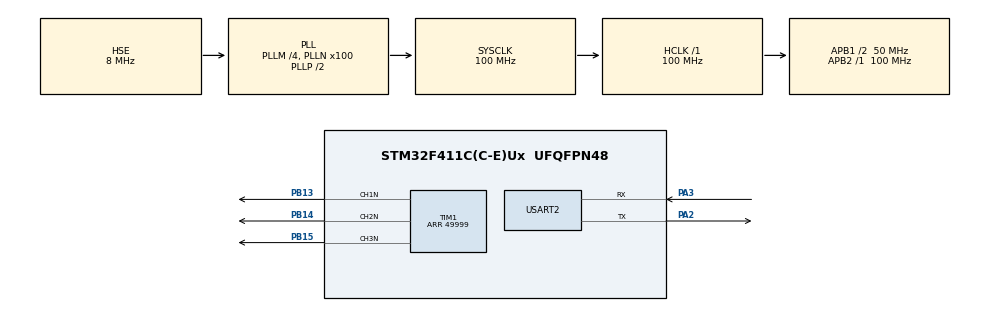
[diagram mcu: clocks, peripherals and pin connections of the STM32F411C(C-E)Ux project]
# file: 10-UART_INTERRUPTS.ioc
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Mcu.Family=STM32F4
Mcu.Name=STM32F411C(C-E)Ux
Mcu.Package=UFQFPN48
NVIC.PriorityGroup=NVIC_PRIORITYGROUP_4
NVIC.USART2_IRQn=true\:0\:0\:false\:false\:true
PA13.Mode=Serial-Wire
PA13.Signal=SYS_JTMS-SWDIO
PA14.Mode=Serial-Wire
PA14.Signal=SYS_JTCK-SWCLK
PA2.Mode=Asynchronous
PA2.Signal=USART2_TX
PA3.Mode=Asynchronous
PA3.Signal=USART2_RX
PB13.Mode=PWM Generation1 CH1N
PB13.Signal=TIM1_CH1N
PB14.Mode=PWM Generation2 CH2N
PB14.Signal=TIM1_CH2N
PB15.Mode=PWM Generation3 CH3N
PB15.Signal=TIM1_CH3N
PC14-OSC32_IN.Mode=LSE-External-Oscillator
PC14-OSC32_IN.Signal=RCC_OSC32_IN
PC15-OSC32_OUT.Mode=LSE-External-Oscillator
PC15-OSC32_OUT.Signal=RCC_OSC32_OUT
PH0\ -\ OSC_IN.Mode=HSE-External-Oscillator
PH0\ -\ OSC_IN.Signal=RCC_OSC_IN
PH1\ -\ OSC_OUT.Mode=HSE-External-Oscillator
PH1\ -\ OSC_OUT.Signal=RCC_OSC_OUT
ProjectManager.HeapSize=0x200
ProjectManager.StackSize=0x400
ProjectManager.TargetToolchain=SW4STM32
RCC.48MHZClocksFreq_Value=50000000
RCC.AHBFreq_Value=100000000
RCC.APB1CLKDivider=RCC_HCLK_DIV2
RCC.APB1Freq_Value=50000000
RCC.APB1TimCLKDivider=1
RCC.APB1TimFreq_Value=50000000
RCC.APB2Freq_Value=100000000
RCC.APB2TimFreq_Value=100000000
RCC.CortexFreq_Value=100000000
RCC.HCLKFreq_Value=100000000
RCC.HSE_VALUE=8000000
RCC.HSI_VALUE=16000000
RCC.PLLM=4
RCC.PLLN=100
RCC.PLLSourceVirtual=RCC_PLLSOURCE_HSE
RCC.SYSCLKFreq_VALUE=100000000
RCC.SYSCLKSource=RCC_SYSCLKSOURCE_PLLCLK
RCC.VCOOutputFreq_Value=200000000
TIM1.Channel-PWM\ Generation2\ CH2N=TIM_CHANNEL_2
TIM1.Channel-PWM\ Generation3\ CH3N=TIM_CHANNEL_3
TIM1.OCNPolarity_1=TIM_OCNPOLARITY_LOW
TIM1.OCNPolarity_2=TIM_OCNPOLARITY_LOW
TIM1.OCNPolarity_3=TIM_OCNPOLARITY_LOW
TIM1.Period=49999
board=10-UART_INTERRUPTS

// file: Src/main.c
/**
 ******************************************************************************
 * File Name          : main.c
 * Description        : Main program body
 ******************************************************************************
 *
 * COPYRIGHT(c) 2016 STMicroelectronics
 *
 * Redistribution and use in source and binary forms, with or without modification,
 * are permitted provided that the following conditions are met:
 *   1. Redistributions of source code must retain the above copyright notice,
 *      this list of conditions and the following disclaimer.
 *   2. Redistributions in binary form must reproduce the above copyright notice,
 *      this list of conditions and the following disclaimer in the documentation
 *      and/or other materials provided with the distribution.
 *   3. Neither the name of STMicroelectronics nor the names of its contributors
 *      may be used to endorse or promote products derived from this software
 *      without specific prior written permission.
 *
 * THIS SOFTWARE IS PROVIDED BY THE COPYRIGHT HOLDERS AND CONTRIBUTORS "AS IS"
 * AND ANY EXPRESS OR IMPLIED WARRANTIES, INCLUDING, BUT NOT LIMITED TO, THE
 * IMPLIED WARRANTIES OF MERCHANTABILITY AND FITNESS FOR A PARTICULAR PURPOSE ARE
 * DISCLAIMED. IN NO EVENT SHALL THE COPYRIGHT HOLDER OR CONTRIBUTORS BE LIABLE
 * FOR ANY DIRECT, INDIRECT, INCIDENTAL, SPECIAL, EXEMPLARY, OR CONSEQUENTIAL
 * DAMAGES (INCLUDING, BUT NOT LIMITED TO, PROCUREMENT OF SUBSTITUTE GOODS OR
 * SERVICES; LOSS OF USE, DATA, OR PROFITS; OR BUSINESS INTERRUPTION) HOWEVER
 * CAUSED AND ON ANY THEORY OF LIABILITY, WHETHER IN CONTRACT, STRICT LIABILITY,
 * OR TORT (INCLUDING NEGLIGENCE OR OTHERWISE) ARISING IN ANY WAY OUT OF THE USE
 * OF THIS SOFTWARE, EVEN IF ADVISED OF THE POSSIBILITY OF SUCH DAMAGE.
 *
 ******************************************************************************
 */
#include "stm32f4xx_hal.h"
#include "tim.h"
#include "usart.h"
#include "gpio.h"

/* USER CODE BEGIN PV */
/* Private variables ---------------------------------------------------------*/
char recv_buffer;
double red = 0, green = 0, blue = 0;
/* USER CODE END PV */

void SystemClock_Config(void);

/* USER CODE BEGIN PFP */
/* Private function prototypes -----------------------------------------------*/

/* USER CODE END PFP */

/* USER CODE BEGIN 0 */
void HAL_UART_RxCpltCallback(UART_HandleTypeDef *huart) {
	switch (recv_buffer) {
	case 'q':
		red += 0.1;
		break;
	case 'a':
		red -= 0.1;
		break;
	case 'w':
		green += 0.1;
		break;
	case 's':
		green -= 0.1;
		break;
	case 'e':
		blue += 0.1;
		break;
	case 'd':
		blue -= 0.1;
		break;
	}

	if (red < 0)
		red = 0;
	else if (red > 1)
		red = 1;
	if (green < 0)
		green = 0;
	else if (green > 1)
		green = 1;
	if (blue < 0)
		blue = 0;
	else if (blue > 1)
		blue = 1;

	set_led_brightness(&htim1, TIM_CHANNEL_1, blue);
	set_led_brightness(&htim1, TIM_CHANNEL_2, red);
	set_led_brightness(&htim1, TIM_CHANNEL_3, green);
	HAL_UART_Receive_IT(&huart2, &recv_buffer, 1);
}

void set_led_brightness(TIM_HandleTypeDef * timer, uint32_t channel,
		double brightness) {
	int32_t value = powf((brightness), 2.2) * 50000;
	__HAL_TIM_SET_COMPARE(timer, channel, value);
}
/* USER CODE END 0 */

int main(void) {

	/* MCU Configuration----------------------------------------------------------*/

	/* Reset of all peripherals, Initializes the Flash interface and the Systick. */
	HAL_Init();

	/* Configure the system clock */
	SystemClock_Config();

	/* Initialize all configured peripherals */
	MX_GPIO_Init();
	MX_TIM1_Init();
	MX_USART2_UART_Init();

	/* USER CODE BEGIN 2 */
	HAL_TIMEx_PWMN_Start(&htim1, TIM_CHANNEL_1);
	HAL_TIMEx_PWMN_Start(&htim1, TIM_CHANNEL_2);
	HAL_TIMEx_PWMN_Start(&htim1, TIM_CHANNEL_3);
	HAL_UART_Receive_IT(&huart2, &recv_buffer, 1);
	/* USER CODE END 2 */

	/* Infinite loop */
	while (1) {

	}

}

/** System Clock Configuration
 */
void SystemClock_Config(void) {

	RCC_OscInitTypeDef RCC_OscInitStruct;
	RCC_ClkInitTypeDef RCC_ClkInitStruct;

	__HAL_RCC_PWR_CLK_ENABLE()
	;

	__HAL_PWR_VOLTAGESCALING_CONFIG(PWR_REGULATOR_VOLTAGE_SCALE1);

	RCC_OscInitStruct.OscillatorType = RCC_OSCILLATORTYPE_HSE;
	RCC_OscInitStruct.HSEState = RCC_HSE_ON;
	RCC_OscInitStruct.PLL.PLLState = RCC_PLL_ON;
	RCC_OscInitStruct.PLL.PLLSource = RCC_PLLSOURCE_HSE;
	RCC_OscInitStruct.PLL.PLLM = 4;
	RCC_OscInitStruct.PLL.PLLN = 100;
	RCC_OscInitStruct.PLL.PLLP = RCC_PLLP_DIV2;
	RCC_OscInitStruct.PLL.PLLQ = 4;
	HAL_RCC_OscConfig(&RCC_OscInitStruct);

	RCC_ClkInitStruct.ClockType = RCC_CLOCKTYPE_HCLK | RCC_CLOCKTYPE_SYSCLK
			| RCC_CLOCKTYPE_PCLK1 | RCC_CLOCKTYPE_PCLK2;
	RCC_ClkInitStruct.SYSCLKSource = RCC_SYSCLKSOURCE_PLLCLK;
	RCC_ClkInitStruct.AHBCLKDivider = RCC_SYSCLK_DIV1;
	RCC_ClkInitStruct.APB1CLKDivider = RCC_HCLK_DIV2;
	RCC_ClkInitStruct.APB2CLKDivider = RCC_HCLK_DIV1;
	HAL_RCC_ClockConfig(&RCC_ClkInitStruct, FLASH_LATENCY_3);

	HAL_SYSTICK_Config(HAL_RCC_GetHCLKFreq() / 1000);

	HAL_SYSTICK_CLKSourceConfig(SYSTICK_CLKSOURCE_HCLK);

	/* SysTick_IRQn interrupt configuration */
	HAL_NVIC_SetPriority(SysTick_IRQn, 0, 0);
}

/************************ (C) COPYRIGHT STMicroelectronics *****END OF FILE****/
